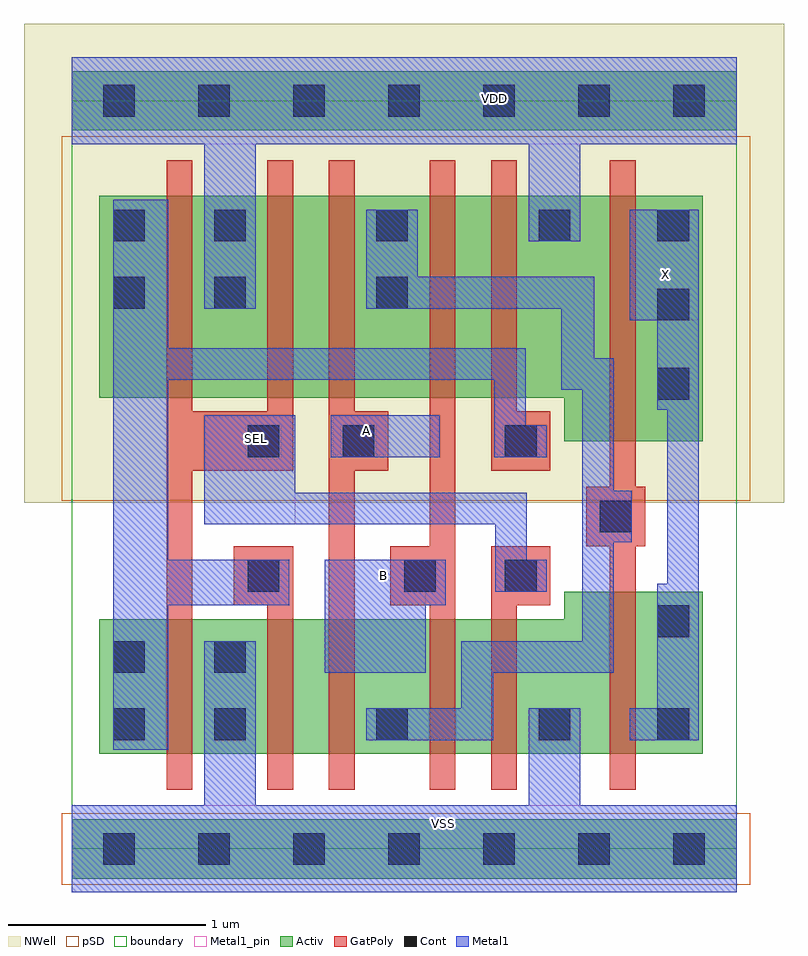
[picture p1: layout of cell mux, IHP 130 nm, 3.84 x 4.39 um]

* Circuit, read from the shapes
.subckt mux A B SEL VDD VSS X
XM1 VSS SEL n1 VSS sg13_lv_nmos w=0.68u l=0.13u
XM2 n2 n1 VSS VSS sg13_lv_nmos w=0.68u l=0.13u
XM3 n3 A n2 VSS sg13_lv_nmos w=0.68u l=0.13u
XM4 n4 B n3 VSS sg13_lv_nmos w=0.68u l=0.13u
XM5 VSS SEL n4 VSS sg13_lv_nmos w=0.68u l=0.13u
XM6 X n3 VSS VSS sg13_lv_nmos w=0.82u l=0.13u
XM7 VDD SEL n1 VDD sg13_lv_pmos w=1.02u l=0.13u
XM8 n5 SEL VDD VDD sg13_lv_pmos w=1.02u l=0.13u
XM9 n3 A n5 VDD sg13_lv_pmos w=1.02u l=0.13u
XM10 n6 B n3 VDD sg13_lv_pmos w=1.02u l=0.13u
XM11 VDD n1 n6 VDD sg13_lv_pmos w=1.02u l=0.13u
XM12 X n3 VDD VDD sg13_lv_pmos w=1.24u l=0.13u
.ends

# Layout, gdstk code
import gdstk
lib = gdstk.Library(unit=1e-6, precision=1e-09)
def R(c, l, rs):  # rectangles x0, y0, x1, y1
    for r in rs: c.add(gdstk.rectangle(r[:2], r[2:], *l))
def A(c, l, x, y, w, h, nx, ny, dx, dy):  # array of equal rectangles
    R(c, l, [(x+i*dx, y+j*dy, x+i*dx+w, y+j*dy+h) for i in range(nx) for j in range(ny)])
def P(c, l, *ps):  # polygons
    for p in ps: c.add(gdstk.Polygon(p, *l))
Activ = (1, 0)
GatPoly = (5, 0)
Cont = (6, 0)
Metal1 = (8, 0)
Metal1_pin = (8, 2)
pSD = (14, 0)
NWell = (31, 0)
boundary = (189, 4)

mux = lib.new_cell('mux')
R(mux, Activ, [(0,-0.15,3.36,0.15), (0,3.63,3.36,3.93)])
P(mux, Activ, [(0.14,0.48),(0.14,1.16),(2.49,1.16),(2.49,1.3),(3.19,1.3),(3.19,0.48)],
  [(2.49,2.06),(2.49,2.28),(0.14,2.28),(0.14,3.3),(3.19,3.3),(3.19,2.06)])
P(mux, GatPoly, [(0.99,0.3),(0.99,1.23),(0.82,1.23),(0.82,1.53),(1.12,1.53),(1.12,0.3)],
  [(2.12,0.3),(2.12,1.53),(2.42,1.53),(2.42,1.23),(2.25,1.23),(2.25,0.3)],
  [(0.48,0.3),(0.48,3.48),(0.61,3.48),(0.61,2.21),(0.99,2.21),(0.99,3.48),(1.12,3.48),(1.12,1.91),(0.99,1.91),(0.61,1.91),(0.61,0.3)],
  [(1.3,0.3),(1.3,3.48),(1.43,3.48),(1.43,2.21),(1.6,2.21),(1.6,1.91),(1.43,1.91),(1.43,0.3)],
  [(1.81,0.3),(1.81,1.23),(1.61,1.23),(1.61,1.53),(1.81,1.53),(1.81,3.48),(1.94,3.48),(1.94,0.3)],
  [(2.12,1.91),(2.12,3.48),(2.25,3.48),(2.25,2.21),(2.42,2.21),(2.42,1.91)],
  [(2.72,0.3),(2.72,1.53),(2.6,1.53),(2.6,1.83),(2.72,1.83),(2.72,3.48),(2.85,3.48),(2.85,1.83),(2.9,1.83),(2.9,1.53),(2.85,1.53),(2.85,0.3)])
A(mux, Cont, 0.16, -0.08, 0.16, 0.16, 7, 2, 0.48, 3.78)
A(mux, Cont, 0.72, 0.55, 0.16, 0.16, 3, 2, 0.82, 2.52)
A(mux, Cont, 2.96, 2.27, 0.16, 0.16, 1, 3, 0, 0.4)
R(mux, Cont, [(0.21,0.55,0.37,0.71), (2.96,0.55,3.12,0.71), (0.21,0.89,0.37,1.05), (0.72,0.89,0.88,1.05), (2.96,1.07,3.12,1.23), (0.89,1.3,1.05,1.46), (1.68,1.3,1.84,1.46), (2.19,1.3,2.35,1.46), (2.67,1.6,2.83,1.76), (0.89,1.98,1.05,2.14), (1.37,1.98,1.53,2.14), (2.19,1.98,2.35,2.14), (0.21,2.73,0.37,2.89), (0.72,2.73,0.88,2.89), (1.54,2.73,1.7,2.89), (0.21,3.07,0.37,3.23)])
R(mux, Metal1, [(1.31,1.98,1.86,2.19)])
P(mux, Metal1, [(0,-0.22),(0,0.22),(0.67,0.22),(0.67,1.05),(0.93,1.05),(0.93,0.22),(2.31,0.22),(2.31,0.71),(2.57,0.71),(2.57,0.22),(3.36,0.22),(3.36,-0.22)],
  [(1.28,0.89),(1.28,1.46),(1.89,1.46),(1.89,1.23),(1.79,1.23),(1.79,0.89)],
  [(2.14,1.3),(2.14,1.64),(0.67,1.64),(0.67,2.19),(1.13,2.19),(1.13,1.8),(2.3,1.8),(2.3,1.46),(2.4,1.46),(2.4,1.3)],
  [(1.49,0.55),(1.49,0.71),(1.97,0.71),(1.97,1.05),(2.58,1.05),(2.58,2.32),(2.475,2.32),(2.475,2.73),(1.49,2.73),(1.49,3.23),(1.75,3.23),(1.75,2.89),(2.64,2.89),(2.64,2.48),(2.74,2.48),(2.74,1.81),(2.83,1.81),(2.83,1.55),(2.74,1.55),(2.74,0.89),(2.13,0.89),(2.13,0.55)],
  [(2.82,0.55),(2.82,0.71),(2.96,0.71),(2.96,1.34),(3.01,1.34),(3.01,2.22),(2.96,2.22),(2.96,2.67),(2.82,2.67),(2.82,3.23),(3.17,3.23),(3.17,0.55)],
  [(0.21,0.5),(0.21,3.28),(0.49,3.28),(0.49,2.53),(2.295,2.53),(2.295,2.14),(2.4,2.14),(2.4,1.98),(2.135,1.98),(2.135,2.37),(0.49,2.37),(0.49,1.46),(1.1,1.46),(1.1,1.23),(0.49,1.23),(0.49,0.5)],
  [(0.67,2.73),(0.67,3.56),(0,3.56),(0,4),(3.36,4),(3.36,3.56),(2.57,3.56),(2.57,3.07),(2.31,3.07),(2.31,3.56),(0.93,3.56),(0.93,2.73)])
R(mux, Metal1_pin, [(0,-0.22,3.36,0.22), (1.28,0.89,1.79,1.46), (0.67,1.64,1.13,2.19), (1.31,1.98,1.86,2.19), (2.82,2.67,3.17,3.23), (0,3.56,3.36,4)])
R(mux, pSD, [(-0.05,-0.18,3.43,0.18), (-0.05,1.76,3.43,3.6)])
R(mux, NWell, [(-0.24,1.75,3.6,4.17)])
R(mux, boundary, [(0,0,3.36,3.78)])
mux.add(gdstk.Label('VSS', (1.88,0.13), layer=8, texttype=25))
mux.add(gdstk.Label('VDD', (2.135,3.79), layer=8, texttype=25))
mux.add(gdstk.Label('B', (1.575,1.38), layer=8, texttype=25))
mux.add(gdstk.Label('A', (1.49,2.115), layer=8, texttype=25))
mux.add(gdstk.Label('SEL', (0.935,2.075), layer=8, texttype=25))
mux.add(gdstk.Label('X', (3,2.9), layer=8, texttype=25))

lib.write_gds('mux.gds')
